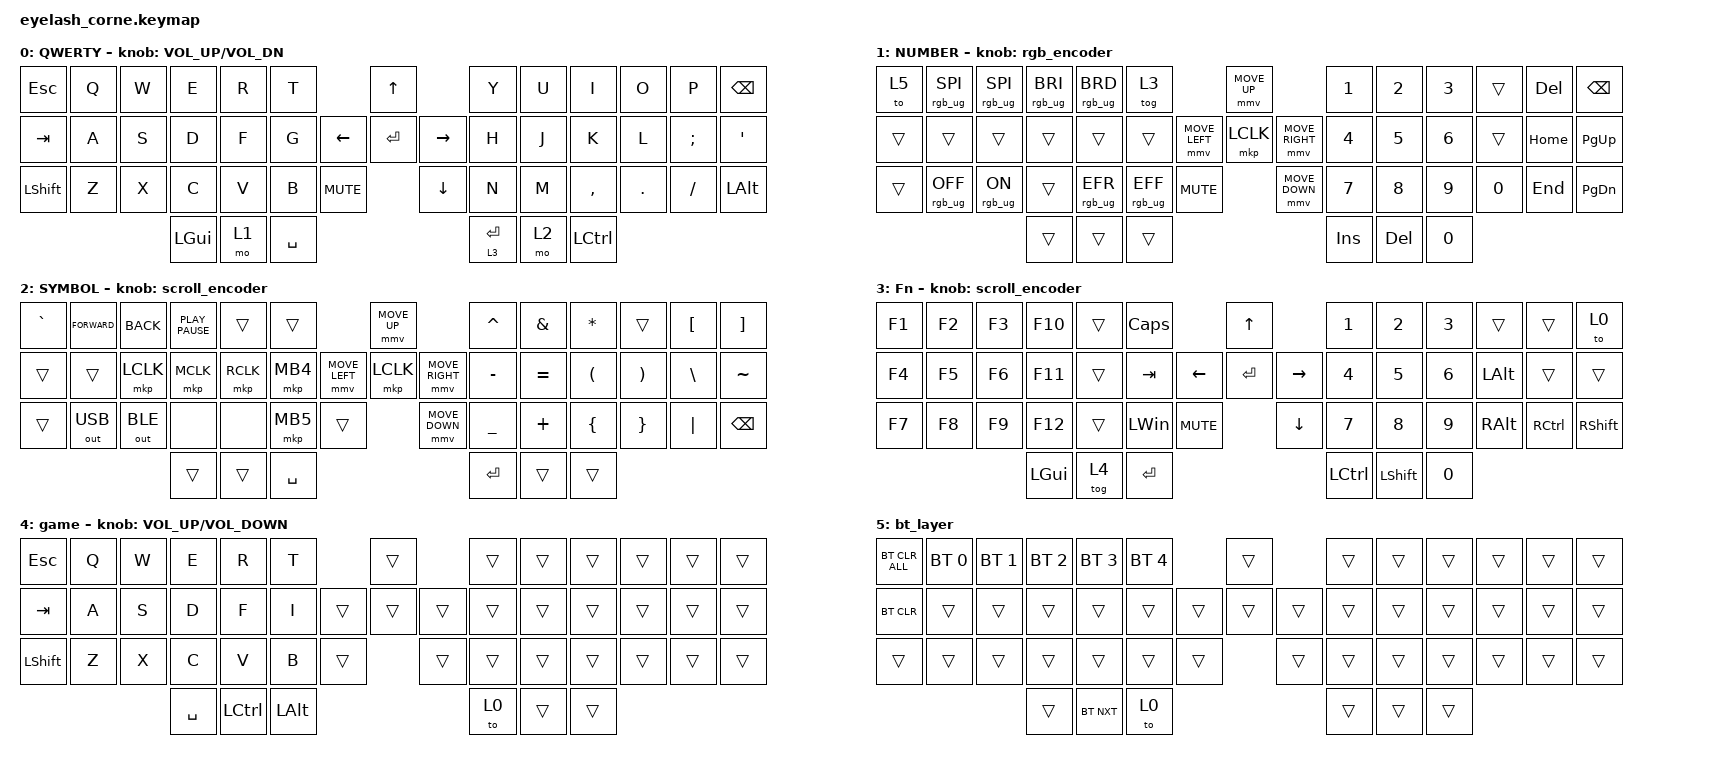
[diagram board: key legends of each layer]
#define ZMK_POINTING_DEFAULT_MOVE_VAL 1200  // 600
#define ZMK_POINTING_DEFAULT_SCRL_VAL 25   // 10

#include <input/processors.dtsi>
#include <zephyr/dt-bindings/input/input-event-codes.h>
#include <behaviors.dtsi>
#include <dt-bindings/zmk/bt.h>
#include <dt-bindings/zmk/keys.h>
#include <dt-bindings/zmk/outputs.h>
#include <dt-bindings/zmk/pointing.h>
#include <dt-bindings/zmk/rgb.h>

&mmv_input_listener { input-processors = <&zip_xy_scaler 2 1>; };

&msc_input_listener { input-processors = <&zip_scroll_scaler 2 1>; };

&msc {
    acceleration-exponent = <1>;      // 0
    time-to-max-speed-ms = <100>;       // 300
    delay-ms = <0>;                   // 0
};

&mmv {
    time-to-max-speed-ms = <500>;
    acceleration-exponent = <1>;
    trigger-period-ms = <16>;
};

/ {
    behaviors {
        td0: td0 {
            compatible = "zmk,behavior-tap-dance";
            display-name = "Shift/Caps Lock Tap Dance";
            #binding-cells = <0>;
            bindings = <&kp LEFT_SHIFT>, <&kp CAPS>;
        };
    };

    rgb_encoder: rgb_encoder {
        compatible = "zmk,behavior-sensor-rotate";
        #sensor-binding-cells = <0>;
        bindings = <&rgb_ug RGB_BRI>, <&rgb_ug RGB_BRD>;
    };

    scroll_encoder: scroll_encoder {
        compatible = "zmk,behavior-sensor-rotate";
        #sensor-binding-cells = <0>;
        bindings = <&msc SCRL_DOWN>, <&msc SCRL_UP>;

        tap-ms = <100>;
    };

    keymap {
        compatible = "zmk,keymap";

        default_layer {
            display-name = "QWERTY";
            bindings = <
&kp ESCAPE  &kp Q  &kp W  &kp E     &kp R  &kp T                              &kp UP                &kp Y        &kp U  &kp I             &kp O    &kp P     &kp BSPC
&kp TAB     &kp A  &kp S  &kp D     &kp F  &kp G                    &kp LEFT  &kp ENTER  &kp RIGHT  &kp H        &kp J  &kp K             &kp L    &kp SEMI  &kp SQT
&kp LSHFT   &kp Z  &kp X  &kp C     &kp V  &kp B      &kp C_MUTE              &kp DOWN              &kp N        &kp M  &kp COMMA         &kp DOT  &kp FSLH  &kp LEFT_ALT
                          &kp LGUI  &mo 1  &kp SPACE                                                &lt 3 ENTER  &mo 2  &kp LEFT_CONTROL
            >;

            // sensor-bindings = <&inc_dec_kp C_VOLUME_UP C_VOLUME_DOWN>;

            sensor-bindings = <&inc_dec_kp C_VOL_UP C_VOL_DN>;
        };

        lower_layer {
            display-name = "NUMBER";
            bindings = <
&to 5   &rgb_ug RGB_SPI  &rgb_ug RGB_SPI  &rgb_ug RGB_BRI  &rgb_ug RGB_BRD  &tog 3                                         &mmv MOVE_UP                     &kp N1        &kp N2   &kp NUMBER_3  &trans  &kp DELETE  &kp BSPC
&trans  &trans           &trans           &trans           &trans           &trans                         &mmv MOVE_LEFT  &mkp LCLK       &mmv MOVE_RIGHT  &kp NUMBER_4  &kp N5   &kp NUMBER_6  &trans  &kp HOME    &kp PG_UP
&trans  &rgb_ug RGB_OFF  &rgb_ug RGB_ON   &trans           &rgb_ug RGB_EFR  &rgb_ug RGB_EFF  &kp C_MUTE                    &mmv MOVE_DOWN                   &kp N7        &kp N8   &kp N9        &kp N0  &kp END     &kp PG_DN
                                          &trans           &trans           &trans                                                                          &kp INS       &kp DEL  &kp N0
            >;

            sensor-bindings = <&rgb_encoder>;
        };

        raise_layer {
            display-name = "SYMBOL";
            bindings = <
&kp GRAVE  &kp K_FORWARD  &kp K_BACK    &kp K_PLAY_PAUSE  &trans     &trans                               &mmv MOVE_UP                     &kp CARET  &kp AMPS   &kp ASTRK             &trans                 &kp LEFT_BRACKET  &kp RIGHT_BRACKET
&trans     &trans         &mkp LCLK     &mkp MCLK         &mkp RCLK  &mkp MB4             &mmv MOVE_LEFT  &mkp LCLK       &mmv MOVE_RIGHT  &kp MINUS  &kp EQUAL  &kp LEFT_PARENTHESIS  &kp RIGHT_PARENTHESIS  &kp BSLH          &kp TILDE
&trans     &out OUT_USB   &out OUT_BLE  &none             &none      &mkp MB5   &trans                    &mmv MOVE_DOWN                   &kp UNDER  &kp PLUS   &kp LBRC              &kp RBRC               &kp PIPE          &kp BACKSPACE
                                        &trans            &trans     &kp SPACE                                                             &kp RET    &trans     &trans
            >;

            sensor-bindings = <&scroll_encoder>;
        };

        fn {
            display-name = "Fn";
            bindings = <
&kp F1  &kp F2  &kp F3  &kp F10   &trans  &kp CAPSLOCK                          &kp UP                     &kp NUMBER_1      &kp NUMBER_2    &kp NUMBER_3  &trans         &trans             &to 0
&kp F4  &kp F5  &kp F6  &kp F11   &trans  &kp TAB                     &kp LEFT  &kp ENTER       &kp RIGHT  &kp NUMBER_4      &kp N5          &kp NUMBER_6  &kp LEFT_ALT   &trans             &trans
&kp F7  &kp F8  &kp F9  &kp F12   &trans  &kp LEFT_WIN  &kp C_MUTE              &kp DOWN_ARROW             &kp N7            &kp N8          &kp N9        &kp RIGHT_ALT  &kp RIGHT_CONTROL  &kp RIGHT_SHIFT
                        &kp LGUI  &tog 4  &kp RETURN                                                       &kp LEFT_CONTROL  &kp LEFT_SHIFT  &kp N0
            >;

            sensor-bindings = <&scroll_encoder>;
        };

        game {
            bindings = <
&kp ESCAPE      &kp Q  &kp W  &kp E      &kp R             &kp T                           &trans          &trans  &trans  &trans  &trans  &trans  &trans
&kp TAB         &kp A  &kp S  &kp D      &kp F             &kp I                   &trans  &trans  &trans  &trans  &trans  &trans  &trans  &trans  &trans
&kp LEFT_SHIFT  &kp Z  &kp X  &kp C      &kp V             &kp B         &trans            &trans          &trans  &trans  &trans  &trans  &trans  &trans
                              &kp SPACE  &kp LEFT_CONTROL  &kp LEFT_ALT                                    &to 0   &trans  &trans
            >;

            sensor-bindings = <&inc_dec_kp C_VOLUME_UP C_VOLUME_DOWN>;
            label = "game";
        };

        bt_layer {
            bindings = <
&bt BT_CLR_ALL  &bt BT_SEL 0  &bt BT_SEL 1  &bt BT_SEL 2  &bt BT_SEL 3  &bt BT_SEL 4                    &trans          &trans  &trans  &trans  &trans  &trans  &trans
&bt BT_CLR      &trans        &trans        &trans        &trans        &trans                  &trans  &trans  &trans  &trans  &trans  &trans  &trans  &trans  &trans
&trans          &trans        &trans        &trans        &trans        &trans        &trans            &trans          &trans  &trans  &trans  &trans  &trans  &trans
                                            &trans        &bt BT_NXT    &to 0                                           &trans  &trans  &trans
            >;
        };
    };
};
